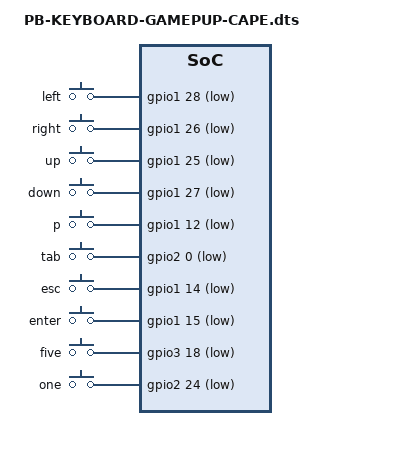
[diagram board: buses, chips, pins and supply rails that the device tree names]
/*
 * Copyright (C) 2012 Texas Instruments Incorporated - http://www.ti.com/
 *
 * This program is free software; you can redistribute it and/or modify
 * it under the terms of the GNU General Public License version 2 as
 * published by the Free Software Foundation.
 */
/dts-v1/;
/plugin/;

#include <dt-bindings/gpio/gpio.h>
#include <dt-bindings/pinctrl/am33xx.h>
#include <dt-bindings/interrupt-controller/irq.h>

/ {
	/*
	 * Free up the pins used by the cape from the pinmux helpers.
	 */
	fragment@0 {
		target = <&ocp>;
		__overlay__ {
			P2_02_pinmux { status = "disabled"; };	/* keys - left-pad down (down) */
			P2_04_pinmux { status = "disabled"; };	/* keys - left-pad right (right) */
			P2_06_pinmux { status = "disabled"; };	/* keys - left-pad up (up) */
			P2_08_pinmux { status = "disabled"; };	/* keys - left-pad left (left) */
			P2_18_pinmux { status = "disabled"; };	/* keys - right pad down (enter) */
			P2_20_pinmux { status = "disabled"; };	/* keys - right-pad right (tab) */
			P2_22_pinmux { status = "disabled"; };	/* keys - right-pad up (esc)*/
			P2_24_pinmux { status = "disabled"; };	/* keys - right-pad left (p) */
			P1_31_pinmux { status = "disabled"; };	/* keys - select (five) */
			P1_35_pinmux { status = "disabled"; };	/* keys - start (one) */
		};
	};

	/*
	 * Note: PB-LEDS-GAMEPUP-CAPE.dtbo is needed to Make a new set of gpio helpers
	 * as the default helpers will conflict with the gpio-keys.
	 */

	/*
	 * Load the drivers for the buttons.
	 */
	fragment@1 {
		target-path="/";
		__overlay__ {
			gpio-keys {
				compatible = "gpio-keys";
				autorepeat;

				pinctrl-names = "default";
				pinctrl-0 = <
					&P2_02_gpio_pu_pin	/* left-pad down */
					&P2_04_gpio_pu_pin	/* left-pad right */
					&P2_06_gpio_pu_pin	/* left-pad up */
					&P2_08_gpio_pu_pin	/* left-pad left */
					&P2_18_gpio_pu_pin	/* right-pad down */
					&P2_20_gpio_pu_pin	/* right-pad right */
					&P2_22_gpio_pu_pin	/* right-pad up */
					&P2_24_gpio_pu_pin	/* right-pad left */
					&P1_31_gpio_pu_pin	/* select */
					&P1_35_gpio_pu_pin	/* start */
				>;
		
				lp-left {
					label = "left";
					linux,code = <105>;
					gpios = <&gpio1 28 GPIO_ACTIVE_LOW>;
				};
		
				lp-right {
					label = "right";
					linux,code = <106>;
					gpios = <&gpio1 26 GPIO_ACTIVE_LOW>;
				};
		
				lp-up {
					label = "up";
					linux,code = <103>;
					gpios = <&gpio1 25 GPIO_ACTIVE_LOW>;
				};
		
				lp-down {
					label = "down";
					linux,code = <108>;
					gpios = <&gpio1 27 GPIO_ACTIVE_LOW>;
				};
		
				rp-left {
					label = "p";
					linux,code = <25>;
					gpios = <&gpio1 12 GPIO_ACTIVE_LOW>;
				};
		
				rp-right {
					label = "tab";
					linux,code = <15>;
					gpios = <&gpio2 0 GPIO_ACTIVE_LOW>;
				};
		
				rp-up {
					label = "esc";
					linux,code = <1>;
					gpios = <&gpio1 14 GPIO_ACTIVE_LOW>;
				};
		
				rp-down {
					label = "enter";
					linux,code = <28>;
					gpios = <&gpio1 15 GPIO_ACTIVE_LOW>;
				};

				select {
					label = "five";
					linux,code = <6>;
					gpios = <&gpio3 18 GPIO_ACTIVE_LOW>;
				};

				start {
					label = "one";
					linux,code = <2>;
					gpios = <&gpio2 24 GPIO_ACTIVE_LOW>;
				};
			};
		};
	};
};
						
